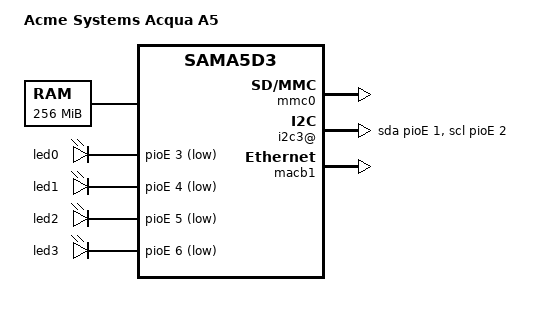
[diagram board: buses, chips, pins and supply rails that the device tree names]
/*
 * acme-acqua.dts - Device Tree file for Acqua A5
 *
 */
 
/dts-v1/;
#include "sama5d31.dtsi"
#include "sama5d3xmb.dtsi"
#include "sama5d3xdm.dtsi"

/ {
	model = "Acme Systems Acqua A5";
	compatible = "atmel,sama5d31ek", "atmel,sama5d3xmb", "atmel,sama5d3xcm", "atmel,sama5d31", "atmel,sama5d3", "atmel,sama5";

	chosen {
		stdout-path = "serial0:115200n8";
		bootargs = "mem=512M console=ttyS0,115200 root=/dev/mmcblk0p2 rootfstype=ext4 rw rootwait consoleblank=0";
	};

	memory {
		reg = <0x20000000 0x10000000>;
	};

	clocks {
		slow_xtal {
			clock-frequency = <32768>;
		};

		main_xtal {
			clock-frequency = <12000000>;
		};
	};

	ahb {
		apb {
			hlcdc: hlcdc@f0030000 {
				status = "disabled";
				hlcdc-display-controller {
					pinctrl-names = "default";
					pinctrl-0 = <&pinctrl_lcd_base &pinctrl_lcd_rgb888_alt>;
					port@0 {
						hlcdc_panel_output: endpoint@0 {
							remote-endpoint = <&panel_input>;
						};
					};
				};
			};

			mmc0: mmc@f0000000 {
				pinctrl-0 = <&pinctrl_mmc0_clk_cmd_dat0 &pinctrl_mmc0_dat1_3 &pinctrl_mmc0_dat4_7 &pinctrl_mmc0_cd>;
				status = "okay";
				slot@0 {
					reg = <0>;
					bus-width = <8>;
					cd-gpios = <&pioE 0 GPIO_ACTIVE_LOW>;
				};
			};

			spi0: spi@f0004000 {
				status = "disabled";
				/*cs-gpios = <&pioD 13 0>, <&pioD 14 0>, <&pioD 15>, <&pioD 16>;*/
				cs-gpios = <&pioD 13 0>, <&pioD 14 0>, <&pioD 15>, <0>;

				device@0 {
					compatible = "spidev";
					spi-max-frequency = <50000000>;     // 50 MHz
					reg = <0>;
				};
				device@1 {
					compatible = "spidev";
					spi-max-frequency = <5000000>;      // 5 MHz
					reg = <1>;
				};
				device@2 {
					compatible = "spidev";
					spi-max-frequency = <5000000>;      // 5 MHz
					reg = <2>;
				};
				/*device@3 {
					compatible = "spidev";
					spi-max-frequency = <5000000>;      // 5 MHz
					reg = <3>;
				};*/
			};

			spi1: spi@f8008000 {
				status = "disabled";
				cs-gpios = <&pioC 25 0>, <&pioC 26 0>, <&pioC 27 0>, <&pioC 28 0>;
				
				device@0 {
					compatible = "spidev";
					spi-max-frequency = <50000000>;     // 50 MHz
					reg = <0>;
				};
				device@1 {
					compatible = "spidev";
					spi-max-frequency = <5000000>;      // 5 MHz
					reg = <1>;
				};
				device@2 {
					compatible = "spidev";
					spi-max-frequency = <5000000>;      // 5 MHz
					reg = <2>;
				};
				device@3 {
					compatible = "spidev";
					spi-max-frequency = <5000000>;      // 5 MHz
					reg = <3>;
				};
			};

			ssc0: ssc@f0008000 {
				status = "disabled";
			};

			i2c0: i2c@f0014000 {
				status = "disabled";
			};

			i2c1: i2c@f0018000 {
				status = "disabled";
			};

			/* Bit banging I2C wired on the Atmel MAC chip */
			i2c3@ {
				compatible = "i2c-gpio";
				gpios = <&pioE 1 0 /* SDA */
						 &pioE 2 0 /* SCK */
						>;

				/*i2c-gpio,sda-open-drain;*/
				/*i2c-gpio,scl-open-drain;*/
				i2c-gpio,delay-us = <4>;	/* ~178 kHz */
				#address-cells = <1>;
				#size-cells = <0>;
			};

			macb1: ethernet@f802c000 {
				status = "okay";
			};
		};
	};

	leds {
		compatible = "gpio-leds";

		led0 {
			label = "led0";
			gpios = <&pioE 3 GPIO_ACTIVE_LOW>;
			default-state = "off";
		};

		led1 {
			label = "led1";
			gpios = <&pioE 4 GPIO_ACTIVE_LOW>;
			default-state = "off";
		};

		led2 {
			label = "led2";
			gpios = <&pioE 5 GPIO_ACTIVE_LOW>;
			linux,default-trigger = "heartbeat";
		};

		led3 {
			label = "led3";
			gpios = <&pioE 6 GPIO_ACTIVE_LOW>;
			linux,default-trigger = "mmc0";
		};

	};

    panel: panel {
        /* compatible = "acme,43inch", "simple-panel"; */
        /* compatible = "acme,50inch", "simple-panel"; */
        /* compatible = "acme,70inch", "simple-panel"; */
        
        status = "disabled";

        port@0 {
            panel_input: endpoint@0 {
                remote-endpoint = <&hlcdc_panel_output>;
            };
        };
    };
};
